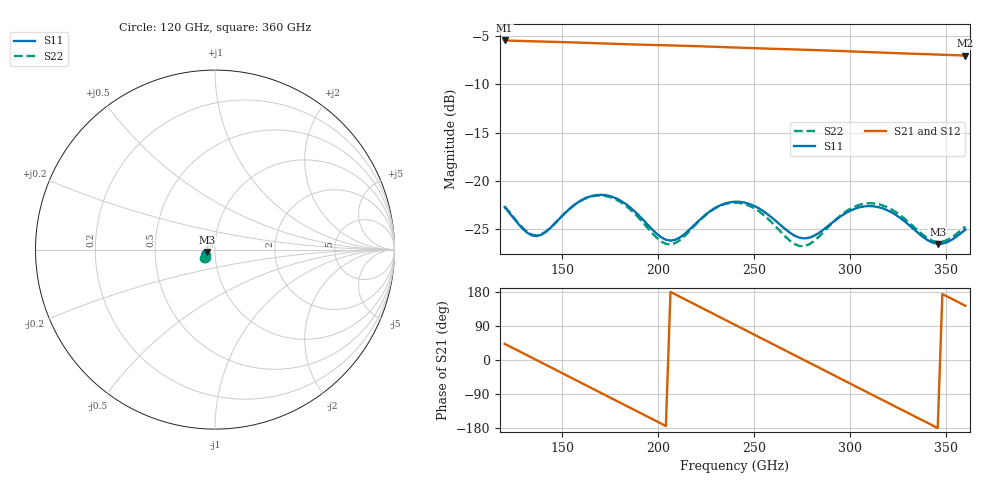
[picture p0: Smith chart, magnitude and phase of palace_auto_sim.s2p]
#  GHZ S DB R 50
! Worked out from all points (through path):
!   101 points, 120 GHz to 360 GHz, reference 50 ohm
!   highest |S21| = -5.46 dB at 120 GHz (marker M1); lowest = -7.0 dB at 360 GHz (marker M2)
!   group delay of S21, straight-line fit = 7.17 ps
!   lowest |S11| = -26.5 dB at 345.6 GHz (marker M3), VSWR 1.10, Z = 45.7 - j1.39 ohm
!   |S11| at or under -10 dB: start of sweep to end of sweep
!   |S22| runs from -26.7 to -21.5 dB; largest |S21 - S12| = 8.1e-14
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120  -22.69 -142.5  -5.46 42.6  -5.46 42.6  -22.62 -142.3
129.6  -24.97 -140.2  -5.52 18.0  -5.52 18.0  -24.89 -140.0
139.2  -25.56 -126.1  -5.57 -6.8  -5.57 -6.8  -25.50 -126.1
148.8  -23.85 -119.3  -5.62 -31.6  -5.62 -31.6  -23.83 -119.2
160.8  -21.90 -127.1  -5.70 -62.7  -5.70 -62.7  -21.92 -126.9
170.4  -21.43 -138.5  -5.76 -87.5  -5.76 -87.5  -21.50 -138.3
180  -21.98 -149.8  -5.83 -112.2  -5.83 -112.2  -22.13 -149.6
192  -23.98 -157.7  -5.90 -143.2  -5.90 -143.2  -24.29 -157.0
201.6  -25.83 -152.3  -5.95 -167.9  -5.95 -167.9  -26.26 -150.0
218.4  -24.62 -133.8  -6.04 148.6  -6.04 148.6  -24.73 -129.9
230.4  -22.70 -138.9  -6.12 117.5  -6.12 117.5  -22.74 -135.8
240  -22.14 -148.4  -6.19 92.7  -6.19 92.7  -22.23 -145.8
249.6  -22.54 -158.1  -6.25 68.0  -6.25 68.0  -22.78 -155.8
261.6  -24.19 -164.5  -6.33 37.0  -6.33 37.0  -24.79 -161.6
273.6  -25.87 -157.3  -6.40 6.0  -6.40 6.0  -26.73 -150.1
280.8  -25.71 -149.1  -6.45 -12.6  -6.45 -12.6  -26.27 -139.0
302.4  -22.87 -150.6  -6.61 -68.4  -6.61 -68.4  -22.64 -141.4
312  -22.61 -159.5  -6.68 -93.2  -6.68 -93.2  -22.31 -151.0
321.6  -23.24 -167.8  -6.75 -117.9  -6.75 -117.9  -22.94 -159.9
333.6  -25.07 -171.5  -6.84 -148.8  -6.84 -148.8  -24.83 -163.8
345.6  -26.50 -161.3  -6.92 -179.7  -6.92 -179.7  -26.31 -152.8
360  -25.03 -149.6  -7.03 143.1  -7.03 143.1  -24.72 -140.5
